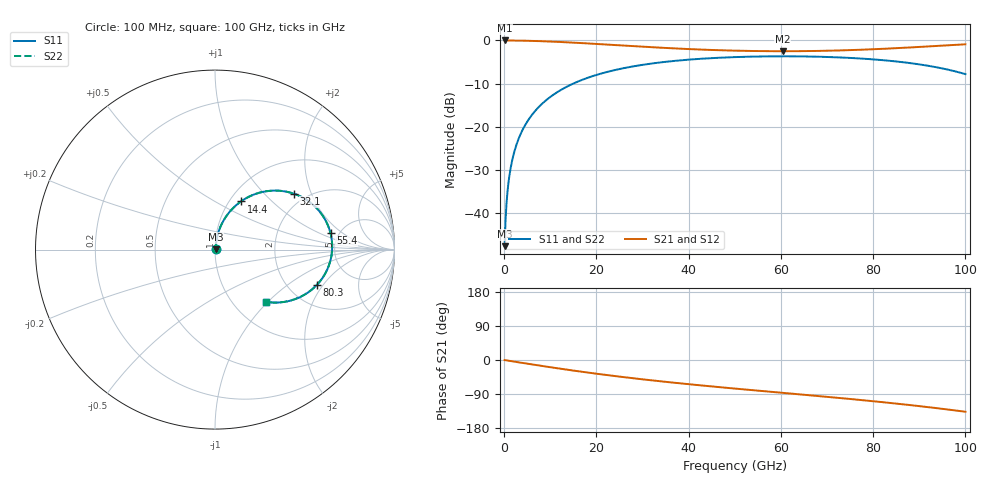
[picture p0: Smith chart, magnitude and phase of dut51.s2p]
! Touchstone file exported from HFSS 2026.1.0
!  File:  C:/ffzhzh/LocalFiles/Ansys_Project_Files/temp_train_RDL_51_1783498307_41296.aedt
!  Generated:  04:12:52 PM Jul  8, 2026
!  Design:  RDL
!  Project:  temp_train_RDL_51_1783498307_41296
! Variables:
!  h_bsmrdl = 2um
!  h_ox = 20um
!  h_rdl = 5um
!  h_sub = 80um
!  h_tmrdl = 2.56um
!  h_tsv = 80um
!  h_via = 3um
!  l_bsmrdl = 300um
!  l_sub = 854.1um
!  l_tmrdl = 454.1um
!  m_sub = 200um
!  pitch = 58.76um
!  r_tsv = 6um
!  s_tmrdl = 10um
!  w_bsmrdl = 18um
!  w_sub = 500um
!  w_tmrdl = 20.41um
!  x_tsv_center1 = 464.305um
!  x_tsv_center2 = 782.305um
!  x_tsv_center3 = 1256.815um
!  x_tsv_center4 = 1574.815um
!  x_tsv_center5 = 2049.325um
!  x_tsv_center6 = 2367.325um
# GHz S MA R 50.000000
! Terminal data exported
! Port[1] = TM_RDL1_1_T1
! Port[2] = TM_RDL1_1_T2
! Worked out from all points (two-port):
!   1000 points, 100 MHz to 100 GHz, reference 50 ohm
!   highest |S21| = -0.03 dB at 100 MHz (marker M1); lowest = -2.5 dB at 60.4 GHz (marker M2)
!   |S21| within 3 dB of the highest: start of sweep to end of sweep
!   lowest |S11| = -47.7 dB at 100 MHz (marker M3), VSWR 1.01, Z = 50.3 + j0.249 ohm
!   |S11| at or under -10 dB: start of sweep to 15.02 GHz
!   |S22| runs from -47.7 to -3.7 dB; largest |S21 - S12| = 1.6e-14
!   S11 on the Smith chart (normalised r, x): 100 MHz: 1.01, +0.00; 14.4 GHz: 1.13, +0.67; 32.1 GHz: 1.73, +1.52; 55.4 GHz: 4.26, +1.35; 80.3 GHz: 2.82, -1.74; 100 GHz: 1.40, -0.97
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0.1  0.004134 36.7  0.9967 -0.2  0.9967 -0.2  0.004134 36.7
! Gamma 0 0 0 0
! Port Impedance 50 0 50 0
0.8  0.01937 76.6  0.9959 -1.6  0.9959 -1.6  0.01937 76.6
1.1  0.02615 78.8  0.9956 -2.2  0.9956 -2.2  0.02615 78.8
1.4  0.03295 79.9  0.9953 -2.7  0.9953 -2.7  0.03295 79.9
2.3  0.05343 80.8  0.9942 -4.5  0.9942 -4.5  0.05343 80.8
3.6  0.08294 79.8  0.9919 -7.0  0.9919 -7.0  0.08294 79.8
5.4  0.1232 77.2  0.9872 -10.5  0.9872 -10.5  0.1232 77.2
7.8  0.1753 73.1  0.9787 -15.0  0.9787 -15.0  0.1753 73.1
10.8  0.237 67.8  0.9646 -20.5  0.9646 -20.5  0.237 67.8
14.4  0.3052 61.6  0.9443 -26.9  0.9443 -26.9  0.3052 61.6
16.8  0.3468 57.6  0.9294 -31.0  0.9294 -31.0  0.3468 57.6
24  0.4526 46.4  0.8821 -42.4  0.8821 -42.4  0.4526 46.4
32.1  0.5398 35.2  0.8319 -53.8  0.8319 -53.8  0.5398 35.2
33.4  0.551 33.5  0.8246 -55.6  0.8246 -55.6  0.551 33.5
50.1  0.6396 13.8  0.7593 -75.5  0.7593 -75.5  0.6396 13.8
55.4  0.6501 8.1  0.7506 -81.3  0.7506 -81.3  0.6501 8.1
60.4  0.6534 2.8  0.7479 -86.7  0.7479 -86.7  0.6533 2.8
66.7  0.6484 -3.9  0.752 -93.5  0.752 -93.5  0.6484 -3.9
80.3  0.6003 -19.2  0.7896 -109.1  0.7896 -109.1  0.6002 -19.2
83.4  0.5808 -23.0  0.8034 -113.0  0.8034 -113.0  0.5808 -22.9
92.3  0.5034 -34.6  0.8517 -124.9  0.8517 -124.9  0.5033 -34.5
100  0.4063 -45.8  0.8994 -136.6  0.8994 -136.6  0.4062 -45.7
